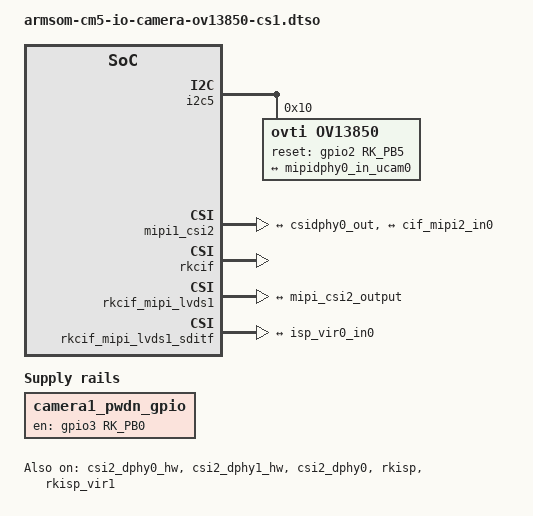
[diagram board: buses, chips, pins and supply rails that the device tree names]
/dts-v1/;
/plugin/;

#include <dt-bindings/clock/rockchip,rk3576-cru.h>
#include <dt-bindings/power/rk3576-power.h>
#include <dt-bindings/gpio/gpio.h>
#include <dt-bindings/pinctrl/rockchip.h>

/ {
	fragment@0 {
		target-path = "/";
		__overlay__ {
			camera1_pwdn_gpio: camera-pwdn-gpio {
				status = "okay";
				compatible = "regulator-fixed";
				regulator-name = "camera1_pwdn_gpio";
				regulator-always-on;
				regulator-boot-on;
				enable-active-high;
				gpio = <&gpio3 RK_PB0 GPIO_ACTIVE_HIGH>;
				pinctrl-names = "default";
				pinctrl-0 = <&cam1_pwdn_gpio>;
			};
		};
	};

	fragment@1 {
		target = <&i2c5>;
		__overlay__ {
			status = "okay";
			pinctrl-names = "default";
			pinctrl-0 = <&i2c5m3_xfer>;
			ov13850: ov13850@10 {
				status = "okay";
				compatible = "ovti,ov13850";
				reg = <0x10>;
				clocks = <&cru CLK_MIPI_CAMERAOUT_M1>;
				clock-names = "xvclk";
				pinctrl-names = "default";
				pinctrl-0 = <&cam_clk1m0_clk1>;
				reset-gpios = <&gpio2 RK_PB5 GPIO_ACTIVE_HIGH>;
				rockchip,camera-module-index = <0>;
				rockchip,camera-module-facing = "back";
				rockchip,camera-module-name = "ZC-OV13850R2A-V1";
				rockchip,camera-module-lens-name = "Largan-50064B31";
				port {
					ov13850_out0: endpoint {
						remote-endpoint = <&mipidphy0_in_ucam0>;
						data-lanes = <1 2 3 4>;
					};
				};
			};
		};
	};

	fragment@2 {
		target = <&csi2_dphy0_hw>;
		__overlay__ {
			status = "okay";
		};
	};

	fragment@3 {
		target = <&csi2_dphy1_hw>;
		__overlay__ {
			status = "okay";
		};
	};

	fragment@4 {
		target = <&csi2_dphy0>;
		__overlay__ {
			status = "okay";

			ports {
				#address-cells = <1>;
				#size-cells = <0>;

				port@0 {
					reg = <0>;
					#address-cells = <1>;
					#size-cells = <0>;

					mipidphy0_in_ucam0: endpoint@1 {
						reg = <1>;
						remote-endpoint = <&ov13850_out0>;
						data-lanes = <1 2 3 4>;
					};
				};

				port@1 {
					reg = <1>;
					#address-cells = <1>;
					#size-cells = <0>;

					csidphy0_out: endpoint@0 {
						reg = <0>;
						remote-endpoint = <&mipi2_csi2_input>;
					};
				};
			};
		};
	};

	fragment@5 {
		target = <&mipi1_csi2>;
		__overlay__ {
			status = "okay";

			ports {
				#address-cells = <1>;
				#size-cells = <0>;

				port@0 {
					reg = <0>;
					#address-cells = <1>;
					#size-cells = <0>;

					mipi2_csi2_input: endpoint@1 {
						reg = <1>;
						remote-endpoint = <&csidphy0_out>;
					};
				};

				port@1 {
					reg = <1>;
					#address-cells = <1>;
					#size-cells = <0>;

					mipi_csi2_output: endpoint@0 {
						reg = <0>;
						remote-endpoint = <&cif_mipi2_in0>;
					};
				};
			};
		};
	};

	fragment@6 {
		target = <&rkcif>;
		__overlay__ {
			status = "okay";
		};
	};

	fragment@7 {
		target = <&rkcif_mipi_lvds1>;
		__overlay__ {
			status = "okay";

			port {
				cif_mipi2_in0: endpoint {
					remote-endpoint = <&mipi_csi2_output>;
				};
			};
		};
	};

	fragment@8 {
		target = <&rkcif_mipi_lvds1_sditf>;
		__overlay__ {
			status = "okay";

			port {
				mipi_lvds1_sditf: endpoint {
					remote-endpoint = <&isp_vir0_in0>;
				};
			};
		};
	};

	fragment@9 {
		target = <&rkcif_mmu>;
		__overlay__ {
			status = "okay";
		};
	};

	fragment@10 {
		target = <&rkisp>;
		__overlay__ {
			status = "okay";
		};
	};

	fragment@11 {
		target = <&rkisp_mmu>;
		__overlay__ {
			status = "okay";
		};
	};

	fragment@12 {
		target = <&rkisp_vir1>;
		__overlay__ {
			status = "okay";

			port {
				#address-cells = <1>;
				#size-cells = <0>;

				isp_vir0_in0: endpoint@0 {
					reg = <0>;
					remote-endpoint = <&mipi_lvds1_sditf>;
				};
			};
		};
	};

	fragment@13 {
		target = <&pinctrl>;
		__overlay__ {
			camera {
				cam1_pwdn_gpio: cam-pwdn-gpio {
					rockchip,pins = <3 RK_PB0 RK_FUNC_GPIO &pcfg_pull_up>;
				};
			};
		};
	};
};
